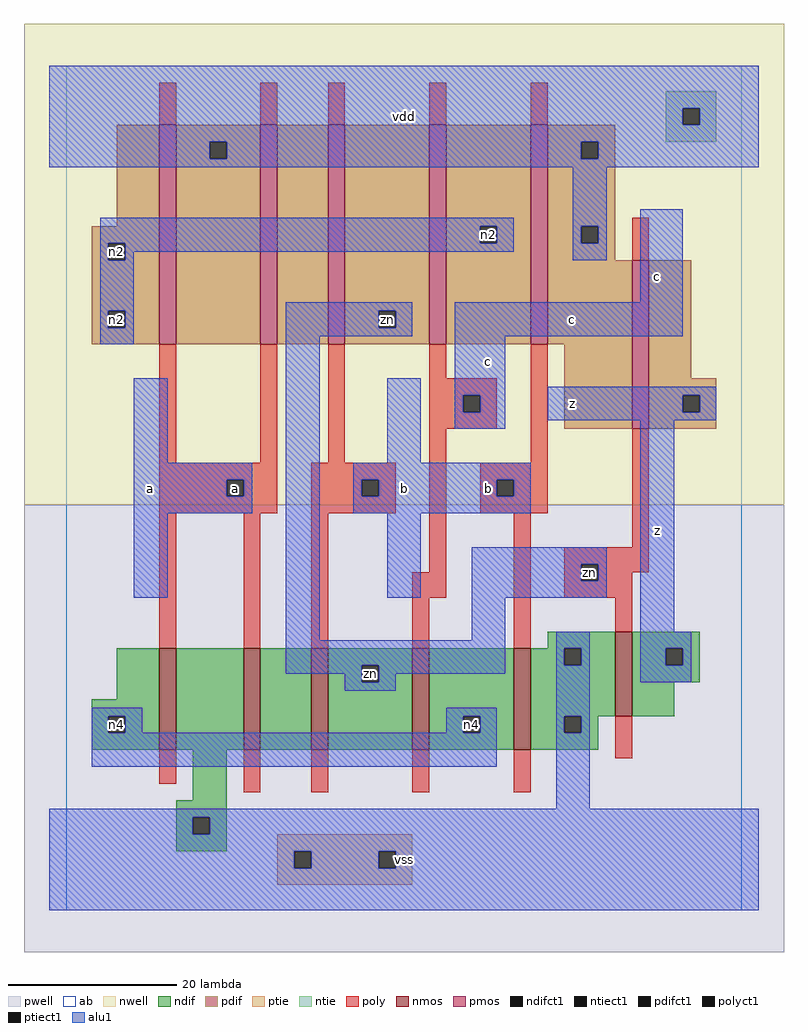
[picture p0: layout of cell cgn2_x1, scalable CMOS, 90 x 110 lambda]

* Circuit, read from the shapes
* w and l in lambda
.subckt cgn2_x1 a b c n2 n4 vdd vss z zn
M1 vss a n4 vss nfet w=12 l=2
M2 n1 a vss vss nfet w=12 l=2
M3 zn b n1 vss nfet w=12 l=2
M4 n4 c zn vss nfet w=12 l=2
M5 vss b n4 vss nfet w=12 l=2
M6 z zn vss vss nfet w=10 l=2
M7 vdd a n2 vdd pfet w=26 l=2
M8 n3 a vdd vdd pfet w=26 l=2
M9 zn b n3 vdd pfet w=26 l=2
M10 n2 c zn vdd pfet w=26 l=2
M11 vdd b n2 vdd pfet w=26 l=2
M12 z zn vdd vdd pfet w=20 l=2
.ends

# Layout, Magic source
magic
tech scmos
<< ab >>
rect 0 0 80 100
<< nwell >>
rect -5 48 85 105
<< pwell >>
rect -5 -5 85 48
<< poly >>
rect 11 93 13 98
rect 23 93 25 98
rect 31 93 33 98
rect 43 93 45 98
rect 55 93 57 98
rect 67 77 69 82
rect 11 53 13 67
rect 23 53 25 67
rect 31 53 33 67
rect 43 63 45 67
rect 43 61 51 63
rect 43 59 47 61
rect 49 59 51 61
rect 43 57 51 59
rect 11 51 25 53
rect 11 49 19 51
rect 21 49 25 51
rect 11 47 25 49
rect 29 51 39 53
rect 29 49 35 51
rect 37 49 39 51
rect 29 47 39 49
rect 11 31 13 47
rect 21 31 23 47
rect 29 31 31 47
rect 43 40 45 57
rect 55 53 57 67
rect 49 51 57 53
rect 49 49 51 51
rect 53 49 57 51
rect 49 47 57 49
rect 41 37 45 40
rect 41 31 43 37
rect 53 31 55 47
rect 67 43 69 57
rect 59 41 69 43
rect 59 39 61 41
rect 63 40 69 41
rect 63 39 67 40
rect 59 37 67 39
rect 65 33 67 37
rect 11 15 13 19
rect 21 14 23 19
rect 29 14 31 19
rect 41 14 43 19
rect 53 14 55 19
rect 65 18 67 23
<< ndif >>
rect 57 31 65 33
rect 6 25 11 31
rect 3 23 11 25
rect 3 21 5 23
rect 7 21 11 23
rect 3 19 11 21
rect 13 19 21 31
rect 23 19 29 31
rect 31 29 41 31
rect 31 27 35 29
rect 37 27 41 29
rect 31 19 41 27
rect 43 23 53 31
rect 43 21 47 23
rect 49 21 53 23
rect 43 19 53 21
rect 55 29 59 31
rect 61 29 65 31
rect 55 23 65 29
rect 67 31 75 33
rect 67 29 71 31
rect 73 29 75 31
rect 67 27 75 29
rect 67 23 72 27
rect 55 21 59 23
rect 61 21 63 23
rect 55 19 63 21
rect 15 13 19 19
rect 13 11 19 13
rect 13 9 15 11
rect 17 9 19 11
rect 13 7 19 9
<< pdif >>
rect 6 81 11 93
rect 3 79 11 81
rect 3 77 5 79
rect 7 77 11 79
rect 3 71 11 77
rect 3 69 5 71
rect 7 69 11 71
rect 3 67 11 69
rect 13 91 23 93
rect 13 89 17 91
rect 19 89 23 91
rect 13 67 23 89
rect 25 67 31 93
rect 33 71 43 93
rect 33 69 37 71
rect 39 69 43 71
rect 33 67 43 69
rect 45 81 55 93
rect 45 79 49 81
rect 51 79 55 81
rect 45 67 55 79
rect 57 91 65 93
rect 57 89 61 91
rect 63 89 65 91
rect 57 81 65 89
rect 57 79 61 81
rect 63 79 65 81
rect 57 77 65 79
rect 57 67 67 77
rect 59 57 67 67
rect 69 63 74 77
rect 69 61 77 63
rect 69 59 73 61
rect 75 59 77 61
rect 69 57 77 59
<< alu1 >>
rect -2 95 82 100
rect -2 93 73 95
rect 75 93 82 95
rect -2 91 82 93
rect -2 89 17 91
rect 19 89 61 91
rect 63 89 82 91
rect -2 88 82 89
rect 4 81 53 82
rect 4 79 49 81
rect 51 79 53 81
rect 4 77 5 79
rect 7 78 53 79
rect 60 81 64 88
rect 60 79 61 81
rect 63 79 64 81
rect 7 77 8 78
rect 60 77 64 79
rect 4 71 8 77
rect 68 72 73 83
rect 4 69 5 71
rect 7 69 8 71
rect 4 67 8 69
rect 26 71 41 72
rect 26 69 37 71
rect 39 69 41 71
rect 26 68 41 69
rect 46 68 73 72
rect 8 53 12 63
rect 8 51 22 53
rect 8 49 19 51
rect 21 49 22 51
rect 8 47 22 49
rect 8 37 12 47
rect 26 32 30 68
rect 38 53 42 63
rect 46 61 52 68
rect 46 59 47 61
rect 49 59 52 61
rect 46 57 52 59
rect 57 61 77 62
rect 57 59 73 61
rect 75 59 77 61
rect 57 58 77 59
rect 34 51 55 53
rect 34 49 35 51
rect 37 49 51 51
rect 53 49 55 51
rect 34 47 55 49
rect 38 37 42 47
rect 48 41 64 43
rect 48 39 61 41
rect 63 39 64 41
rect 48 37 64 39
rect 48 32 52 37
rect 68 33 72 58
rect 26 29 52 32
rect 26 28 35 29
rect 33 27 35 28
rect 37 28 52 29
rect 58 31 62 33
rect 58 29 59 31
rect 61 29 62 31
rect 37 27 39 28
rect 33 26 39 27
rect 3 23 9 24
rect 3 21 5 23
rect 7 21 9 23
rect 45 23 51 24
rect 45 21 47 23
rect 49 21 51 23
rect 3 17 51 21
rect 58 23 62 29
rect 68 31 74 33
rect 68 29 71 31
rect 73 29 74 31
rect 68 27 74 29
rect 58 21 59 23
rect 61 21 62 23
rect 58 12 62 21
rect -2 11 82 12
rect -2 9 15 11
rect 17 9 82 11
rect -2 7 82 9
rect -2 5 27 7
rect 29 5 37 7
rect 39 5 82 7
rect -2 0 82 5
<< ptie >>
rect 25 7 41 9
rect 25 5 27 7
rect 29 5 37 7
rect 39 5 41 7
rect 25 3 41 5
<< ntie >>
rect 71 95 77 97
rect 71 93 73 95
rect 75 93 77 95
rect 71 91 77 93
<< nmos >>
rect 11 19 13 31
rect 21 19 23 31
rect 29 19 31 31
rect 41 19 43 31
rect 53 19 55 31
rect 65 23 67 33
<< pmos >>
rect 11 67 13 93
rect 23 67 25 93
rect 31 67 33 93
rect 43 67 45 93
rect 55 67 57 93
rect 67 57 69 77
<< polyct1 >>
rect 47 59 49 61
rect 19 49 21 51
rect 35 49 37 51
rect 51 49 53 51
rect 61 39 63 41
<< ndifct1 >>
rect 5 21 7 23
rect 35 27 37 29
rect 47 21 49 23
rect 59 29 61 31
rect 71 29 73 31
rect 59 21 61 23
rect 15 9 17 11
<< ntiect1 >>
rect 73 93 75 95
<< ptiect1 >>
rect 27 5 29 7
rect 37 5 39 7
<< pdifct1 >>
rect 5 77 7 79
rect 5 69 7 71
rect 17 89 19 91
rect 37 69 39 71
rect 49 79 51 81
rect 61 89 63 91
rect 61 79 63 81
rect 73 59 75 61
<< labels >>
rlabel ndifct1 6 22 6 22 6 n4
rlabel pdifct1 6 70 6 70 6 n2
rlabel pdifct1 6 78 6 78 6 n2
rlabel ndifct1 36 28 36 28 6 zn
rlabel ndifct1 48 22 48 22 6 n4
rlabel pdifct1 38 70 38 70 6 zn
rlabel pdifct1 50 80 50 80 6 n2
rlabel polyct1 62 40 62 40 6 zn
rlabel alu1 10 50 10 50 6 a
rlabel polyct1 20 50 20 50 6 a
rlabel alu1 40 6 40 6 6 vss
rlabel alu1 50 50 50 50 6 b
rlabel alu1 40 50 40 50 6 b
rlabel alu1 50 65 50 65 6 c
rlabel alu1 40 94 40 94 6 vdd
rlabel alu1 70 45 70 45 6 z
rlabel alu1 60 60 60 60 6 z
rlabel alu1 60 70 60 70 6 c
rlabel alu1 70 75 70 75 6 c
<< end >>
